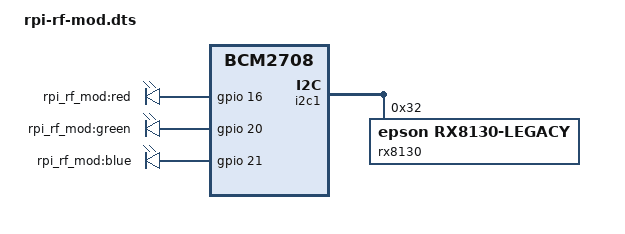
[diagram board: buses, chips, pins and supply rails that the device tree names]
/dts-v1/;
/plugin/;

/*
** Device Tree Overlay for eQ-3 RPI-RF-MOD and
** HM-MOD-RPI-PCB for RaspberryPi
**
** Copyright (c) 2018-2019 Jens Maus <mail@jens-maus.de>
** Licensed under Apache 2.0
**
*/

/ {
    compatible = "brcm,bcm2708";

    // fragment to ensure we have the correct gpio pin
    // setup for the RPI-RF-MOD
    fragment@0 {
        target = <&gpio>;
        __overlay__ {
            rpi_rf_mod_pins: rpi_rf_mod_pins {
                brcm,pins = <19 18 12 16 20 21>; // 19=reset, 18=reset (HM-MOD), 12=button, 16=red, 20=green, 21=blue
                brcm,pull = <0 0 2 0 0 0>; // 19,18=no-pullup, 12=pullup, 16,20,21=no-pullup
                brcm,function = <0 0 0 1 1 1>; // 19,18,12=input, 16,20,21=output
            };
        };
    };

    // fragment to define dedicated led nodes for
    // each separate led supported by the RPI-RF-MOD
    fragment@1 {
        target = <&leds>;
        __overlay__ {
            pinctrl-names = "default";
            pinctrl-0 = <&rpi_rf_mod_pins>;
            rpi_rf_mod_red: rpi_rf_mod_red {
                label = "rpi_rf_mod:red";
                gpios = <&gpio 16 0>;
                default-state = "keep";
                linux,default-trigger = "none";
            };
            rpi_rf_mod_green: rpi_rf_mod_green {
                label = "rpi_rf_mod:green";
                gpios = <&gpio 20 0>;
                default-state = "keep";
                linux,default-trigger = "none";
            };
            rpi_rf_mod_blue: rpi_rf_mod_blue {
                label = "rpi_rf_mod:blue";
                gpios = <&gpio 21 0>;
                default-state = "keep";
                linux,default-trigger = "none";
            };
        };
    };

    // fragment to define settings for the rx8130 RTC clock
    // of the RPI-RF-MOD
    fragment@2 {
        target = <&i2c1>;
        __overlay__ {
            #address-cells = <1>;
            #size-cells = <0>;
            status = "okay";

            rx8130@32 {
                compatible = "epson,rx8130-legacy";
                reg = <0x32>;
                status = "okay";
                enable-external-capacitor;
            };
        };
    };
};
